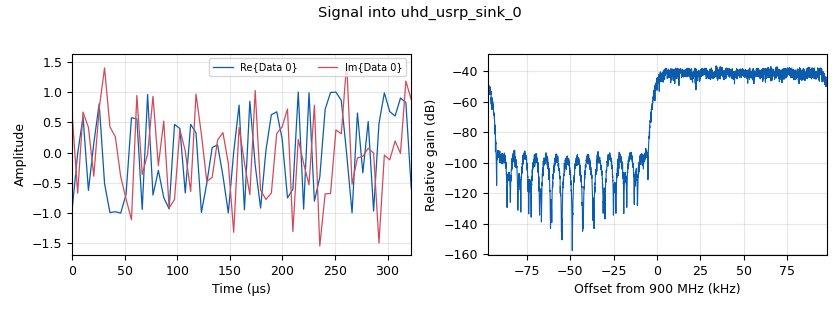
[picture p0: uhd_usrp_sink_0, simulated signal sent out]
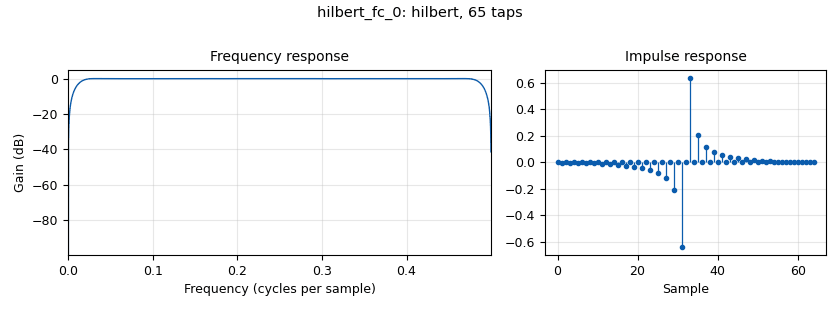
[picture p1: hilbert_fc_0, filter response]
options:
  parameters:
    author: Cames
    generate_options: qt_gui
    id: FMCWTEST1
    output_language: python
    title: Not titled yet
  states: {}

blocks:
- name: cent
  id: variable
  parameters:
    value: '900000000'
  states: {}
- name: samp_rate
  id: variable
  parameters:
    value: '195312'
  states: {}
- name: analog_sig_source_x_0
  id: analog_sig_source_x
  parameters:
    amp: '1.5'
    freq: '900000000'
    offset: '0'
    phase: '0'
    samp_rate: samp_rate
    type: float
    waveform: analog.GR_SAW_WAVE
  states: {}
- name: blocks_complex_to_real_0
  id: blocks_complex_to_real
  parameters: {}
  states: {}
- name: blocks_complex_to_real_0_0
  id: blocks_complex_to_real
  parameters: {}
  states: {}
- name: blocks_file_sink_0_0
  id: blocks_file_sink
  parameters:
    file: C:\Users\Cames\Downloads\New.dat
    type: float
  states: {}
- name: blocks_head_0
  id: blocks_head
  parameters:
    num_items: '25000000'
    type: float
  states: {}
- name: blocks_multiply_xx_0
  id: blocks_multiply_xx
  parameters:
    type: float
  states: {}
- name: blocks_skiphead_0
  id: blocks_skiphead
  parameters:
    num_items: '4157'
    type: float
  states: {}
- name: blocks_vco_f_0
  id: blocks_vco_f
  parameters:
    amplitude: '1'
    samp_rate: samp_rate
    sensitivity: '6280000'
  states: {}
- name: hilbert_fc_0
  id: hilbert_fc
  parameters:
    num_taps: '64'
  states: {}
- name: qtgui_sink_x_0
  id: qtgui_sink_x
  parameters:
    bw: samp_rate
    fc: cent
    fftsize: '1024'
    showrf: 'True'
    type: float
  states: {}
- name: uhd_usrp_sink_0
  id: uhd_usrp_sink
  parameters:
    ant0: ''
    center_freq0: cent
    dev_addr: '"addr=192.168.10.2"'
    gain0: '0'
    samp_rate: samp_rate
    sync: gps_time
    type: fc32
  states: {}
- name: uhd_usrp_source_0
  id: uhd_usrp_source
  parameters:
    ant0: ''
    center_freq0: cent
    dev_addr: '"addr=192.168.10.2"'
    gain0: '0'
    samp_rate: samp_rate
    sync: gps_time
    type: fc32
  states: {}

connections:
- [analog_sig_source_x_0, '0', blocks_vco_f_0, '0']
- [blocks_complex_to_real_0, '0', blocks_multiply_xx_0, '0']
- [blocks_complex_to_real_0_0, '0', blocks_multiply_xx_0, '1']
- [blocks_head_0, '0', blocks_file_sink_0_0, '0']
- [blocks_head_0, '0', qtgui_sink_x_0, '0']
- [blocks_multiply_xx_0, '0', blocks_skiphead_0, '0']
- [blocks_skiphead_0, '0', blocks_head_0, '0']
- [blocks_vco_f_0, '0', hilbert_fc_0, '0']
- [hilbert_fc_0, '0', blocks_complex_to_real_0, '0']
- [hilbert_fc_0, '0', uhd_usrp_sink_0, '0']
- [uhd_usrp_source_0, '0', blocks_complex_to_real_0_0, '0']

metadata:
  file_format: 1
  grc_version: 3.10.8.0
